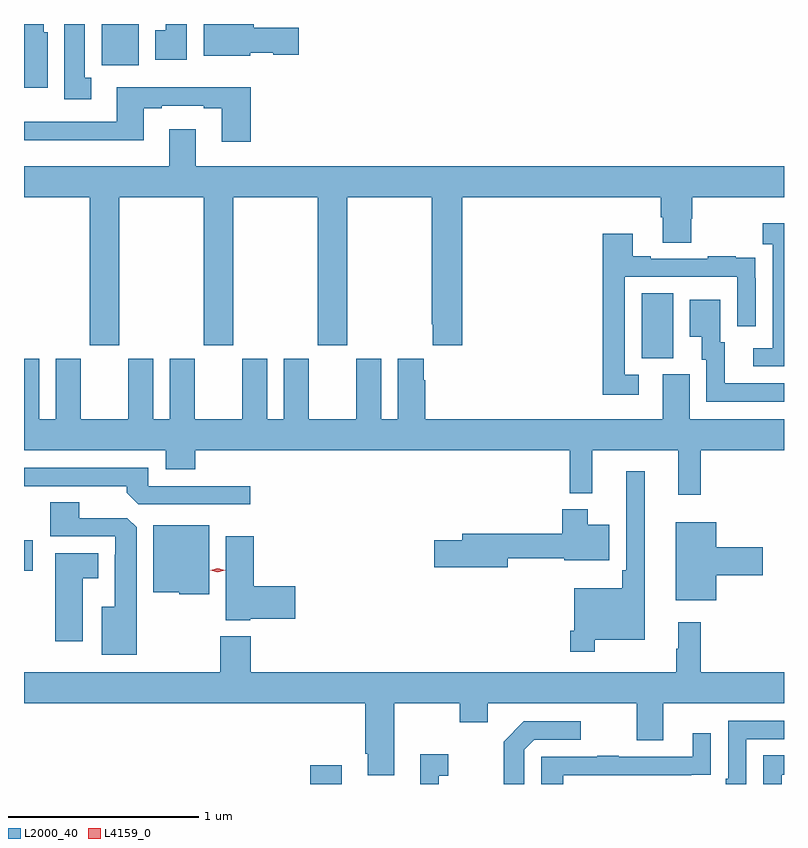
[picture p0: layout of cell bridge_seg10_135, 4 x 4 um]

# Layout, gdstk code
import gdstk
lib = gdstk.Library(unit=1e-6, precision=1e-09)
def R(c, l, rs):  # rectangles x0, y0, x1, y1
    for r in rs: c.add(gdstk.rectangle(r[:2], r[2:], *l))
def P(c, l, *ps):  # polygons
    for p in ps: c.add(gdstk.Polygon(p, *l))
L2000_40 = (2000, 40)
L4159_0 = (4159, 0)

bridge_seg10_135 = lib.new_cell('bridge_seg10_135')
R(bridge_seg10_135, L2000_40, [(347.39,1289.236,347.557,1289.335), (345.884,1290.358,345.931,1290.52), (349.136,1291.477,349.3,1291.82), (346.292,1293.02,346.489,1293.236)])
P(bridge_seg10_135, L2000_40, [(347.076,1293.086),(347.196,1293.086),(347.196,1293.074),(347.329,1293.074),(347.329,1293.216),(347.093,1293.216),(347.093,1293.236),(346.829,1293.236),(346.829,1293.068),(347.076,1293.068)],
  [(346.741,1293.236),(346.631,1293.236),(346.631,1293.204),(346.574,1293.204),(346.574,1293.048),(346.741,1293.048)],
  [(346.009,1293.192),(345.988,1293.192),(345.988,1293.236),(345.884,1293.236),(345.884,1292.9),(346.009,1292.9)],
  [(346.237,1292.954),(346.204,1292.954),(346.204,1293.236),(346.097,1293.236),(346.097,1292.841),(346.237,1292.841)],
  [(347.078,1292.902),(346.373,1292.902),(346.373,1292.721),(345.884,1292.721),(345.884,1292.624),(346.513,1292.624),(346.513,1292.793),(346.609,1292.793),(346.609,1292.805),(346.829,1292.805),(346.829,1292.793),(346.925,1292.793),(346.925,1292.616),(347.078,1292.616)],
  [(346.386,1292.324),(346.831,1292.324),(346.831,1291.545),(346.986,1291.545),(346.986,1292.324),(347.431,1292.324),(347.431,1291.545),(347.586,1291.545),(347.586,1292.324),(348.031,1292.324),(348.031,1291.657),(348.035,1291.657),(348.035,1291.545),(348.191,1291.545),(348.191,1292.324),(349.235,1292.324),(349.235,1292.218),(349.247,1292.218),(349.247,1292.086),(349.395,1292.086),(349.395,1292.211),(349.4,1292.211),(349.4,1292.324),(349.884,1292.324),(349.884,1292.488),(346.789,1292.488),(346.789,1292.683),(346.649,1292.683),(346.649,1292.488),(345.884,1292.488),(345.884,1292.324),(346.231,1292.324),(346.231,1291.545),(346.386,1291.545)],
  [(349.884,1292.188),(349.773,1292.188),(349.773,1292.078),(349.824,1292.078),(349.824,1291.53),(349.722,1291.53),(349.722,1291.434),(349.884,1291.434)],
  [(349.12,1291.389),(349.047,1291.389),(349.047,1291.905),(349.638,1291.905),(349.638,1291.644),(349.734,1291.644),(349.734,1291.898),(349.733,1291.898),(349.733,1292.007),(349.631,1292.007),(349.631,1292.014),(349.483,1292.014),(349.483,1292.001),(349.183,1292.001),(349.183,1292.014),(349.087,1292.014),(349.087,1292.131),(348.931,1292.131),(348.931,1291.284),(349.12,1291.284)],
  [(349.884,1291.344),(349.573,1291.344),(349.573,1291.56),(349.549,1291.56),(349.549,1291.786),(349.388,1291.786),(349.388,1291.589),(349.451,1291.589),(349.451,1291.47),(349.476,1291.47),(349.476,1291.248),(349.884,1291.248)],
  [(349.445,1290.992),(349.884,1290.992),(349.884,1291.156),(349.387,1291.156),(349.387,1291.392),(349.247,1291.392),(349.247,1291.156),(347.996,1291.156),(347.996,1291.361),(347.989,1291.361),(347.989,1291.474),(347.852,1291.474),(347.852,1291.156),(347.764,1291.156),(347.764,1291.474),(347.633,1291.474),(347.633,1291.156),(347.383,1291.156),(347.383,1291.474),(347.252,1291.474),(347.252,1291.156),(347.164,1291.156),(347.164,1291.474),(347.033,1291.474),(347.033,1291.156),(346.783,1291.156),(346.783,1291.474),(346.652,1291.474),(346.652,1291.156),(346.564,1291.156),(346.564,1291.474),(346.433,1291.474),(346.433,1291.156),(346.183,1291.156),(346.183,1291.474),(346.052,1291.474),(346.052,1291.156),(345.964,1291.156),(345.964,1291.474),(345.884,1291.474),(345.884,1290.992),(346.631,1290.992),(346.631,1290.893),(346.784,1290.893),(346.784,1290.992),(348.757,1290.992),(348.757,1290.767),(348.875,1290.767),(348.875,1290.992),(349.328,1290.992),(349.328,1290.759),(349.445,1290.759)],
  [(347.074,1290.804),(346.539,1290.804),(346.539,1290.9),(345.884,1290.9),(345.884,1290.804),(346.424,1290.804),(346.424,1290.77),(346.485,1290.708),(347.074,1290.708)],
  [(348.889,1289.996),(349.15,1289.996),(349.15,1290.883),(349.053,1290.883),(349.053,1290.361),(349.033,1290.361),(349.033,1290.265),(348.78,1290.265),(348.78,1290.043),(348.76,1290.043),(348.76,1289.931),(348.889,1289.931)],
  [(346.477,1290.587),(346.428,1290.636),(346.174,1290.636),(346.174,1290.719),(346.022,1290.719),(346.022,1290.54),(346.365,1290.54),(346.365,1290.443),(346.361,1290.443),(346.361,1290.169),(346.292,1290.169),(346.292,1289.915),(346.477,1289.915)],
  [(348.43,1290.424),(348.728,1290.424),(348.728,1290.413),(348.964,1290.413),(348.964,1290.601),(348.85,1290.601),(348.85,1290.682),(348.716,1290.682),(348.716,1290.553),(348.191,1290.553),(348.191,1290.519),(348.042,1290.519),(348.042,1290.377),(348.43,1290.377)],
  [(349.528,1290.335),(349.771,1290.335),(349.771,1290.482),(349.528,1290.482),(349.528,1290.613),(349.313,1290.613),(349.313,1290.203),(349.528,1290.203)],
  [(346.858,1290.598),(346.565,1290.598),(346.565,1290.245),(346.701,1290.245),(346.701,1290.236),(346.858,1290.236)],
  [(347.076,1290.107),(347.311,1290.107),(347.311,1290.278),(347.093,1290.278),(347.093,1290.541),(346.946,1290.541),(346.946,1290.098),(347.076,1290.098)],
  [(346.192,1290.32),(346.276,1290.32),(346.276,1290.451),(346.049,1290.451),(346.049,1289.988),(346.192,1289.988)],
  [(347.833,1289.66),(348.178,1289.66),(348.178,1289.561),(348.325,1289.561),(348.325,1289.66),(349.109,1289.66),(349.109,1289.466),(349.249,1289.466),(349.249,1289.66),(349.884,1289.66),(349.884,1289.824),(349.445,1289.824),(349.445,1290.088),(349.328,1290.088),(349.328,1289.948),(349.317,1289.948),(349.317,1289.824),(347.078,1289.824),(347.078,1290.013),(346.918,1290.013),(346.918,1289.824),(345.884,1289.824),(345.884,1289.66),(347.681,1289.66),(347.681,1289.395),(347.693,1289.395),(347.693,1289.283),(347.833,1289.283)],
  [(349.686,1289.472),(349.884,1289.472),(349.884,1289.568),(349.59,1289.568),(349.59,1289.263),(349.577,1289.263),(349.577,1289.236),(349.686,1289.236)],
  [(348.516,1289.415),(348.57,1289.469),(348.814,1289.469),(348.814,1289.565),(348.513,1289.565),(348.408,1289.459),(348.408,1289.236),(348.516,1289.236)],
  [(348.722,1289.283),(349.397,1289.283),(349.397,1289.284),(349.499,1289.284),(349.499,1289.503),(349.403,1289.503),(349.403,1289.379),(349.013,1289.379),(349.013,1289.384),(348.901,1289.384),(348.901,1289.379),(348.606,1289.379),(348.606,1289.236),(348.722,1289.236)],
  [(348.066,1289.279),(348.118,1289.279),(348.118,1289.392),(347.969,1289.392),(347.969,1289.236),(348.066,1289.236)],
  [(349.872,1289.286),(349.884,1289.286),(349.884,1289.387),(349.776,1289.387),(349.776,1289.236),(349.872,1289.236)])
P(bridge_seg10_135, L4159_0, [(346.903,1290.351),(346.865,1290.362),(346.864,1290.362),(346.865,1290.362),(346.903,1290.371),(346.942,1290.36),(346.942,1290.36),(346.942,1290.36)])

lib.write_gds('bridge_seg10_135.gds')
